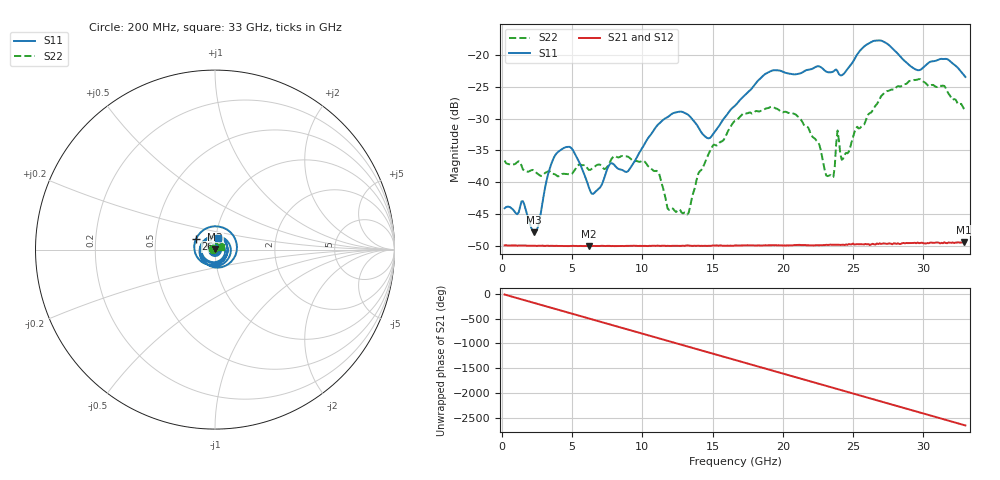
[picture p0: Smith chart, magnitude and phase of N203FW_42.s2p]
# GHZ S RI R 50
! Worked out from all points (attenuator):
!   329 points, 200 MHz to 33 GHz, reference 50 ohm
!   highest |S21| = -49.44 dB at 32.9 GHz (marker M1); lowest = -50.1 dB at 6.2 GHz (marker M2)
!   lowest |S11| = -47.9 dB at 2.3 GHz (marker M3), VSWR 1.01, Z = 50.2 + j0.375 ohm
!   |S11| at or under -10 dB: start of sweep to end of sweep
!   |S22| runs from -45.1 to -23.8 dB; largest |S21 - S12| = 8.8e-05
!   S11 on the Smith chart (normalised r, x): 200 MHz: 1.01, +0.00; 26 GHz: 0.80, +0.10; 33 GHz: 1.03, +0.13
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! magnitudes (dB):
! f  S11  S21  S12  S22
! 200 MHz  -44.1  -50.0  -49.9  -36.6
! 1.5 GHz  -43.0  -50.0  -50.0  -38.0
! 2.3 GHz  -47.9  -50.0  -50.0  -38.2
! 3.8 GHz  -35.8  -50.0  -50.0  -38.8
! 5.7 GHz  -37.8  -50.1  -50.0  -37.3
! 6.2 GHz  -40.8  -50.1  -50.1  -38.1
! 9 GHz  -38.3  -50.0  -50.0  -36.0
! 11.2 GHz  -30.8  -50.0  -50.0  -38.7
! 11.8 GHz  -29.8  -50.0  -50.0  -44.2
! 13.2 GHz  -29.3  -50.0  -50.0  -45.1
! 14.7 GHz  -33.1  -50.0  -50.0  -35.7
! 16.6 GHz  -28.0  -50.0  -50.0  -30.3
! 19.3 GHz  -22.4  -49.9  -49.9  -28.2
! 22.1 GHz  -22.2  -49.9  -49.9  -32.8
! 23.6 GHz  -22.6  -49.9  -49.9  -39.2
! 23.9 GHz  -22.6  -49.9  -49.9  -31.9
! 24.2 GHz  -23.2  -49.9  -49.8  -36.5
! 26 GHz  -18.3  -49.8  -49.8  -29.7
! 27.6 GHz  -18.5  -49.7  -49.7  -25.6
! 29.8 GHz  -22.3  -49.6  -49.7  -23.8
! 32.9 GHz  -23.2  -49.4  -49.4  -28.5
! 33 GHz  -23.4  -49.4  -49.5  -28.7
